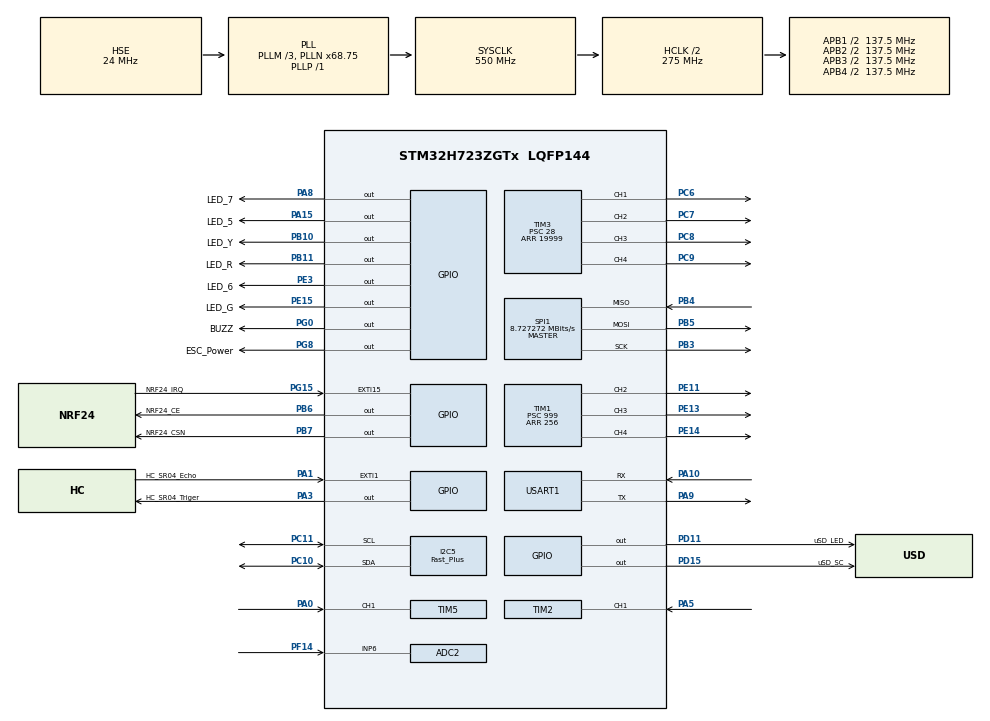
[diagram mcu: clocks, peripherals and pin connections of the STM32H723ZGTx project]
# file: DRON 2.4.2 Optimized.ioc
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ADC2.Channel-0\#ChannelRegularConversion=ADC_CHANNEL_6
ADC2.ClockPrescaler=ADC_CLOCK_ASYNC_DIV8
ADC2.ContinuousConvMode=DISABLE
ADC2.ConversionDataManagement=ADC_CONVERSIONDATA_DMA_CIRCULAR
ADC2.EnableAnalogWatchDog2=false
ADC2.ExternalTrigConv=ADC_EXTERNALTRIG_T8_TRGO
ADC2.NbrOfConversionFlag=1
ADC2.OffsetNumber-0\#ChannelRegularConversion=ADC_OFFSET_NONE
ADC2.OffsetSignedSaturation-0\#ChannelRegularConversion=DISABLE
ADC2.Overrun=ADC_OVR_DATA_OVERWRITTEN
ADC2.Rank-0\#ChannelRegularConversion=1
ADC2.Resolution=ADC_RESOLUTION_12B
ADC2.SamplingTime-0\#ChannelRegularConversion=ADC_SAMPLETIME_810CYCLES_5
CORTEX_M7.CPU_DCache=Disabled
CORTEX_M7.CPU_ICache=Enabled
CORTEX_M7.Enable_Spec=MPU_REGION_ENABLE
CORTEX_M7.default_mode_Activation=1
Dma.ADC2.0.Direction=DMA_PERIPH_TO_MEMORY
Dma.ADC2.0.EventEnable=DISABLE
Dma.ADC2.0.FIFOMode=DMA_FIFOMODE_DISABLE
Dma.ADC2.0.Instance=DMA2_Stream0
Dma.ADC2.0.MemDataAlignment=DMA_MDATAALIGN_HALFWORD
Dma.ADC2.0.MemInc=DMA_MINC_ENABLE
Dma.ADC2.0.Mode=DMA_CIRCULAR
Dma.ADC2.0.PeriphDataAlignment=DMA_PDATAALIGN_HALFWORD
Dma.ADC2.0.PeriphInc=DMA_PINC_DISABLE
Dma.ADC2.0.Polarity=HAL_DMAMUX_REQ_GEN_RISING
Dma.ADC2.0.Priority=DMA_PRIORITY_LOW
Dma.ADC2.0.RequestNumber=1
Dma.ADC2.0.SignalID=NONE
Dma.ADC2.0.SyncEnable=DISABLE
Dma.ADC2.0.SyncPolarity=HAL_DMAMUX_SYNC_NO_EVENT
Dma.ADC2.0.SyncRequestNumber=1
Dma.ADC2.0.SyncSignalID=NONE
Dma.Request0=ADC2
I2C5.Analog_Filter=I2C_ANALOGFILTER_ENABLE
I2C5.I2C_Speed_Mode=I2C_Fast_Plus
I2C5.Timing=0x00000000
Mcu.Family=STM32H7
Mcu.Name=STM32H723ZGTx
Mcu.Package=LQFP144
NVIC.ADC_IRQn=true\:0\:0\:true\:false\:true\:true\:true\:true
NVIC.DMA2_Stream0_IRQn=true\:0\:0\:false\:false\:true\:false\:true\:true
NVIC.EXTI15_10_IRQn=true\:0\:0\:true\:false\:true\:true\:true\:true
NVIC.EXTI1_IRQn=true\:0\:0\:false\:false\:true\:true\:true\:true
NVIC.I2C5_EV_IRQn=true\:1\:0\:true\:false\:true\:true\:true\:true
NVIC.PriorityGroup=NVIC_PRIORITYGROUP_4
NVIC.SPI1_IRQn=true\:0\:0\:false\:false\:true\:true\:true\:true
NVIC.TIM16_IRQn=true\:0\:0\:false\:false\:true\:true\:true\:true
NVIC.TIM17_IRQn=true\:0\:0\:false\:false\:true\:true\:true\:true
NVIC.TIM24_IRQn=true\:0\:0\:false\:false\:true\:true\:true\:true
NVIC.TIM2_IRQn=true\:1\:0\:true\:false\:true\:true\:true\:true
NVIC.TIM8_UP_TIM13_IRQn=true\:0\:0\:false\:false\:true\:true\:true\:true
NVIC.USART1_IRQn=true\:0\:0\:true\:false\:true\:true\:true\:true
PA0.Signal=S_TIM5_CH1
PA1.GPIO_Label=HC_SR04_Echo
PA1.GPIO_ModeDefaultEXTI=GPIO_MODE_IT_RISING_FALLING
PA1.Signal=GPXTI1
PA10.Mode=Asynchronous
PA10.Signal=USART1_RX
PA13(JTMS/SWDIO).Mode=Serial_Wire
PA13(JTMS/SWDIO).Signal=DEBUG_JTMS-SWDIO
PA14(JTCK/SWCLK).Mode=Serial_Wire
PA14(JTCK/SWCLK).Signal=DEBUG_JTCK-SWCLK
PA15(JTDI).GPIO_Label=LED_5
PA15(JTDI).Signal=GPIO_Output
PA3.GPIO_Label=HC_SR04_Triger
PA3.Signal=GPIO_Output
PA5.Signal=S_TIM2_CH1_ETR
PA8.GPIO_Label=LED_7
PA8.Signal=GPIO_Output
PA9.Mode=Asynchronous
PA9.Signal=USART1_TX
PB10.GPIO_Label=LED_Y
PB10.Signal=GPIO_Output
PB11.GPIO_Label=LED_R
PB11.Signal=GPIO_Output
PB13.GPIO_Speed=GPIO_SPEED_FREQ_MEDIUM
PB13.Signal=SPI2_SCK
PB14.GPIO_PuPd=GPIO_PULLUP
PB14.GPIO_Speed=GPIO_SPEED_FREQ_MEDIUM
PB14.Signal=SPI2_MISO
PB15.GPIO_PuPd=GPIO_PULLUP
PB15.GPIO_Speed=GPIO_SPEED_FREQ_MEDIUM
PB15.Signal=SPI2_MOSI
PB3(JTDO/TRACESWO).Mode=Full_Duplex_Master
PB3(JTDO/TRACESWO).Signal=SPI1_SCK
PB4(NJTRST).Mode=Full_Duplex_Master
PB4(NJTRST).Signal=SPI1_MISO
PB5.Mode=Full_Duplex_Master
PB5.Signal=SPI1_MOSI
PB6.GPIO_Label=NRF24_CE
PB6.Signal=GPIO_Output
PB7.GPIO_Label=NRF24_CSN
PB7.Signal=GPIO_Output
PC10.GPIO_Pu=GPIO_PULLUP
PC10.Mode=I2C
PC10.Signal=I2C5_SDA
PC11.GPIO_Pu=GPIO_PULLUP
PC11.Mode=I2C
PC11.Signal=I2C5_SCL
PC6.Signal=S_TIM3_CH1
PC7.Signal=S_TIM3_CH2
PC8.Signal=S_TIM3_CH3
PC9.Signal=S_TIM3_CH4
PD11.GPIO_Label=uSD_LED
PD11.Signal=GPIO_Output
PD15.GPIO_Label=uSD_SC
PD15.GPIO_Speed=GPIO_SPEED_FREQ_MEDIUM
PD15.Signal=GPIO_Output
PE11.Signal=S_TIM1_CH2
PE13.Signal=S_TIM1_CH3
PE14.Signal=S_TIM1_CH4
PE15.GPIO_Label=LED_G
PE15.Signal=GPIO_Output
PE3.GPIO_Label=LED_6
PE3.Signal=GPIO_Output
PF14.Mode=IN6-Single-Ended
PF14.Signal=ADC2_INP6
PG0.GPIO_Label=BUZZ
PG0.Signal=GPIO_Output
PG15.GPIO_Label=NRF24_IRQ
PG15.GPIO_ModeDefaultEXTI=GPIO_MODE_IT_FALLING
PG15.Signal=GPXTI15
PG8.GPIO_Label=ESC_Power
PG8.Signal=GPIO_Output
PH0-OSC_IN.Mode=HSE-External-Oscillator
PH0-OSC_IN.Signal=RCC_OSC_IN
PH1-OSC_OUT.Mode=HSE-External-Oscillator
PH1-OSC_OUT.Signal=RCC_OSC_OUT
ProjectManager.HeapSize=0x200
ProjectManager.StackSize=0x400
ProjectManager.TargetToolchain=STM32CubeIDE
RCC.ADCFreq_Value=69818181.81818181
RCC.APB1Freq_Value=137500000
RCC.APB2Freq_Value=137500000
RCC.APB3Freq_Value=137500000
RCC.APB4Freq_Value=137500000
RCC.CortexFreq_Value=550000000
RCC.D1PPRE=RCC_APB3_DIV2
RCC.D2PPRE1=RCC_APB1_DIV2
RCC.D2PPRE2=RCC_APB2_DIV2
RCC.D3PPRE=RCC_APB4_DIV2
RCC.DIVM1=3
RCC.DIVM2=22
RCC.DIVM3=24
RCC.DIVN1=68
RCC.DIVN2=192
RCC.DIVN3=200
RCC.DIVP1=1
RCC.DIVP2=3
RCC.DIVP3=1
RCC.DIVQ3=10
RCC.HCLKFreq_Value=275000000
RCC.HPRE=RCC_HCLK_DIV2
RCC.HSE_VALUE=24000000
RCC.I2C123CLockSelection=RCC_I2C1235CLKSOURCE_CSI
RCC.PLL2FRACN=0
RCC.PLL3FRACN=0
RCC.PLLFRACN=6144
RCC.PLLSourceVirtual=RCC_PLLSOURCE_HSE
RCC.SPI123CLockSelection=RCC_SPI123CLKSOURCE_PLL2
RCC.SPI6CLockSelection=RCC_SPI6CLKSOURCE_PLL3
RCC.SYSCLKFreq_VALUE=550000000
RCC.SYSCLKSource=RCC_SYSCLKSOURCE_PLLCLK
RCC.SupplySource=PWR_LDO_SUPPLY
RCC.USBFreq_Value=275000000
SH.S_TIM1_CH2.0=TIM1_CH2,PWM Generation2 CH2
SH.S_TIM1_CH3.0=TIM1_CH3,PWM Generation3 CH3
SH.S_TIM1_CH4.0=TIM1_CH4,PWM Generation4 CH4
SH.S_TIM2_CH1_ETR.0=TIM2_CH1,Input_Capture1_from_TI1
SH.S_TIM3_CH1.0=TIM3_CH1,PWM Generation1 CH1
SH.S_TIM3_CH2.0=TIM3_CH2,PWM Generation2 CH2
SH.S_TIM3_CH3.0=TIM3_CH3,PWM Generation3 CH3
SH.S_TIM3_CH4.0=TIM3_CH4,PWM Generation4 CH4
SH.S_TIM5_CH1.0=TIM5_CH1,Input_Capture1_from_TI1
SPI1.BaudRatePrescaler=SPI_BAUDRATEPRESCALER_8
SPI1.CalculateBaudRate=8.727272 MBits/s
SPI1.DataSize=SPI_DATASIZE_8BIT
SPI1.Direction=SPI_DIRECTION_2LINES
SPI1.Mode=SPI_MODE_MASTER
SPI1.VirtualType=VM_MASTER
TIM1.AutoReloadPreload=TIM_AUTORELOAD_PRELOAD_ENABLE
TIM1.Channel-PWM\ Generation2\ CH2=TIM_CHANNEL_2
TIM1.Channel-PWM\ Generation3\ CH3=TIM_CHANNEL_3
TIM1.Channel-PWM\ Generation4\ CH4=TIM_CHANNEL_4
TIM1.Period=256
TIM1.Prescaler=999
TIM13.Period=27499
TIM13.Prescaler=9999
TIM16.Period=1374
TIM16.Prescaler=99
TIM17.Period=274
TIM17.Prescaler=9
TIM2.AutoReloadPreload=TIM_AUTORELOAD_PRELOAD_ENABLE
TIM2.Channel-Input_Capture1_from_TI1=TIM_CHANNEL_1
TIM2.Period=999
TIM2.Prescaler=274
TIM24.Channel-Output\ Compare1\ No\ Output=TIM_CHANNEL_1
TIM24.Period=27499
TIM24.Prescaler=999
TIM3.AutoReloadPreload=TIM_AUTORELOAD_PRELOAD_DISABLE
TIM3.Channel-PWM\ Generation1\ CH1=TIM_CHANNEL_1
TIM3.Channel-PWM\ Generation2\ CH2=TIM_CHANNEL_2
TIM3.Channel-PWM\ Generation3\ CH3=TIM_CHANNEL_3
TIM3.Channel-PWM\ Generation4\ CH4=TIM_CHANNEL_4
TIM3.Period=19999
TIM3.Prescaler=28
TIM5.Channel-Input_Capture1_from_TI1=TIM_CHANNEL_1
TIM8.AutoReloadPreload=TIM_AUTORELOAD_PRELOAD_DISABLE
TIM8.Period=9999
TIM8.Prescaler=5549
TIM8.TIM_MasterOutputTrigger=TIM_TRGO_UPDATE
TIM8.TIM_MasterOutputTrigger2=TIM_TRGO2_UPDATE
USART1.VirtualMode-Asynchronous=VM_ASYNC
VP_MEMORYMAP_VS_MEMORYMAP.Mode=CurAppReg
VP_TIM13_VS_ClockSourceINT.Mode=Enable_Timer
VP_TIM16_VS_ClockSourceINT.Mode=Enable_Timer
VP_TIM17_VS_ClockSourceINT.Mode=Enable_Timer
VP_TIM24_VS_no_output1.Mode=Output Compare1 No Output
VP_TIM8_VS_ClockSourceINT.Mode=Internal
board=custom

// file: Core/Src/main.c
/* USER CODE BEGIN Header */
/**
  ******************************************************************************
  * @file           : main.c
  * @brief          : Main program body
  ******************************************************************************
  * @attention
  *
  * Copyright (c) 2024 STMicroelectronics.
  * All rights reserved.
  *
  * This software is licensed under terms that can be found in the LICENSE file
  * in the root directory of this software component.
  * If no LICENSE file comes with this software, it is provided AS-IS.
  *
  ******************************************************************************
  */
/* USER CODE END Header */
#include "main.h"
#include "adc.h"
#include "dma.h"
#include "i2c.h"
#include "memorymap.h"
#include "spi.h"
#include "tim.h"
#include "usart.h"
#include "gpio.h"

/* USER CODE BEGIN PD */
#define DRAM __attribute__((section (".DRAM")))
#define IRAM __attribute__((section (".IRAM")))
#define RAM1 __attribute__((section (".RAM1")))

#define LED_G_1 HAL_GPIO_WritePin(LED_G_GPIO_Port, LED_G_Pin, GPIO_PIN_SET)
#define LED_G_0 HAL_GPIO_WritePin(LED_G_GPIO_Port, LED_G_Pin, GPIO_PIN_RESET)

#define LED_R_1 HAL_GPIO_WritePin(LED_R_GPIO_Port, LED_R_Pin, GPIO_PIN_SET)
#define LED_R_0 HAL_GPIO_WritePin(LED_R_GPIO_Port, LED_R_Pin, GPIO_PIN_RESET)

#define LED_Y_1 HAL_GPIO_WritePin(LED_Y_GPIO_Port, LED_Y_Pin, GPIO_PIN_SET)
#define LED_Y_0 HAL_GPIO_WritePin(LED_Y_GPIO_Port, LED_Y_Pin, GPIO_PIN_RESET)

#define LED_5_1 HAL_GPIO_WritePin(LED_5_GPIO_Port, LED_5_Pin, GPIO_PIN_SET) // GY-87 LED
#define LED_5_0 HAL_GPIO_WritePin(LED_5_GPIO_Port, LED_5_Pin, GPIO_PIN_RESET)

#define LED_6_1 HAL_GPIO_WritePin(LED_6_GPIO_Port, LED_6_Pin, GPIO_PIN_SET) // NRF24 LED
#define LED_6_0 HAL_GPIO_WritePin(LED_6_GPIO_Port, LED_6_Pin, GPIO_PIN_RESET)

#define LED_7_1 HAL_GPIO_WritePin(LED_7_GPIO_Port, LED_7_Pin, GPIO_PIN_SET) // USART LED
#define LED_7_0 HAL_GPIO_WritePin(LED_7_GPIO_Port, LED_7_Pin, GPIO_PIN_RESET)

#define LED_uSD_1 HAL_GPIO_WritePin(uSD_LED_GPIO_Port, uSD_LED_Pin, GPIO_PIN_SET) // uSD LED
#define LED_uSD_0 HAL_GPIO_WritePin(uSD_LED_GPIO_Port, uSD_LED_Pin, GPIO_PIN_RESET)

#define BUZZ_1 HAL_GPIO_WritePin(BUZZ_GPIO_Port, BUZZ_Pin, GPIO_PIN_SET)
#define BUZZ_0 HAL_GPIO_WritePin(BUZZ_GPIO_Port, BUZZ_Pin, GPIO_PIN_RESET)

#define ESC_POWER_1 HAL_GPIO_WritePin(ESC_Power_GPIO_Port, ESC_Power_Pin, GPIO_PIN_SET)//1 = unucitve
#define ESC_POWER_0 HAL_GPIO_WritePin(ESC_Power_GPIO_Port, ESC_Power_Pin, GPIO_PIN_RESET)//0 = active

#define NRF24_CSN_HIGH		HAL_GPIO_WritePin(NRF24_CSN_GPIO_Port, NRF24_CSN_Pin, GPIO_PIN_SET)
#define NRF24_CSN_LOW		HAL_GPIO_WritePin(NRF24_CSN_GPIO_Port, NRF24_CSN_Pin, GPIO_PIN_RESET)

#define NRF24_CE_HIGH		HAL_GPIO_WritePin(NRF24_CE_GPIO_Port, NRF24_CE_Pin, GPIO_PIN_SET)
#define NRF24_CE_LOW		HAL_GPIO_WritePin(NRF24_CE_GPIO_Port, NRF24_CE_Pin, GPIO_PIN_RESET)

#define DegToRad 0.01745329251994329576923690768489f

/* USER CODE END PD */

/* USER CODE BEGIN PV */
IRAM MPU6050_Struct MPU6050;
IRAM BMP180_Struct BMP180;
IRAM NRF24_Struct NRF24;
IRAM Dron MYDRON;
IRAM HMC5883L_Struct HMC5883L;
IRAM USART_Struct USART;
IRAM Madgwick_Struct Madgwick;
IRAM HC_SR04_Struct HC_SR04;
IRAM Inactivity_Struct Inactivity;

///////// main
IRAM int TIM_inte = 0;
IRAM uint8_t STARTUP = 1;
IRAM uint32_t NRF_TIM_Inte = 0;
RAM1 uint32_t analogmess;
IRAM uint32_t i = 0, loopnum = 0;
IRAM uint8_t NRF24_Messages_SC = 0;
IRAM uint8_t NRF24_inte = 0;
IRAM uint16_t FDP_D_Gain_AR = 0;
IRAM uint16_t FDP_D_Gain = 0;
const float looptime = 0.001; //todo #define
IRAM float wobble_strenght = 1; //todo ?
const uint16_t DRON_SLOWFALING = 2700;
IRAM uint8_t DRON_ON_GRUND;
IRAM uint8_t ESC_Start;
IRAM uint32_t uIOC_MASK; //todo ?
IRAM uint32_t uDZC_MASK; //todo ?
IRAM uint64_t _1_ms_count;

#define FDP_Mag_Z_FQ 2
#define FDP_FQ 2
/* USER CODE END PV */

void SystemClock_Config(void);
void PeriphCommonClock_Config(void);
static void MPU_Config(void);

int main(void)
{

  /* MPU Configuration--------------------------------------------------------*/
  MPU_Config();

  /* Enable the CPU Cache */

  /* Enable I-Cache---------------------------------------------------------*/
  SCB_EnableICache();

  /* MCU Configuration--------------------------------------------------------*/

  /* Reset of all peripherals, Initializes the Flash interface and the Systick. */
  HAL_Init();

  /* Configure the system clock */
  SystemClock_Config();

  /* Configure the peripherals common clocks */
  PeriphCommonClock_Config();

  /* Initialize all configured peripherals */
  MX_GPIO_Init();
  MX_DMA_Init();
  MX_I2C5_Init();
  MX_ADC2_Init();
  MX_USART1_UART_Init();
  MX_TIM1_Init();
  MX_TIM8_Init();
  MX_TIM3_Init();
  MX_TIM2_Init();
  MX_SPI1_Init();
  MX_TIM24_Init();
  MX_TIM5_Init();
  MX_TIM17_Init();
  MX_TIM16_Init();
  MX_TIM13_Init();
  /* USER CODE BEGIN 2 */
  	  ESC_POWER_1;

  	STARTUP = 1;
  	DRON_ON_GRUND = 1;
  	ESC_Start = 0;

	USART.Received = 0;
	USART.command[0] = 0;
	USART.command_ch_num = 0;
	USART.commandready = 0;

	Inactivity.Compare_Value = 24991806;
	Inactivity.Counter = 0;
	Inactivity.Inact_Percent = 0;

    TIM_inte = 0;
  	NRF_TIM_Inte = 0;
  	FDP_D_Gain_AR = 0;
  	FDP_D_Gain = 0;
  	wobble_strenght = 1;
  	i = 0, loopnum = 0;
  	NRF24_inte = 0;
  	_1_ms_count = 0;

  	LED_5_1;
  	LED_6_1;
  	LED_7_1;
  	LED_uSD_1;
  	LED_G_1;
  	LED_Y_1;
  	LED_R_1;
  	HAL_Delay(1000);
  	LED_G_0;
  	LED_Y_0;
  	LED_R_0;
  	LED_5_0;
  	LED_6_0;
  	LED_7_0;
  	LED_uSD_0;

  	Dron_Init();

	Madgwick.beta = 0.1f;
	Madgwick.q0 = 1.0f;
	Madgwick.q1 = 0.0f;
	Madgwick.q2 = 0.0f;
	Madgwick.q3 = 0.0f;
	Madgwick.z_offset = 0;
	Madgwick.x = 0;
	Madgwick.y = 0;
	Madgwick.z = 0;

  	analogmess = 0;

  	HAL_TIM_Base_Start(&htim8);
  	HAL_ADC_Start_DMA(&hadc2, &analogmess, 1);
  	LED_R_1;
  	while(analogmess == 0){

  	}
  	LED_R_0;

  	Get_batteryvalue();

  	HAL_TIM_PWM_Start(&htim1, TIM_CHANNEL_2);//pwm do diodt RGB
  	HAL_TIM_PWM_Start(&htim1, TIM_CHANNEL_3);
  	HAL_TIM_PWM_Start(&htim1, TIM_CHANNEL_4);

  	RGB_LED_For_BAT(MYDRON.batterysize);
  	if(MYDRON.Status.Battery == DRON_BATTERY_RUN_OUT){
  		LED_R_1;
  		while(1){

  		}
  	}
  	if(MYDRON.Status.Battery == DRON_BATTERY_CRIT_VAL){
  		LED_R_1;

  		while(1){
  		}
  	}

	/////////////////////////////// MPU6050
		LED_5_1;
		if(MPU6050_INIT(&hi2c5) == 0){
			LED_R_1;
			NVIC_SystemReset();
			while(1){
			}
		}
		LED_Y_1;
		MPU6050_CALIBRATION();
		LED_Y_0;

	/////////////////////////////// BMP180
		if(BMP180_init(&hi2c5, &htim16) == 0){
			LED_R_1;
			NVIC_SystemReset();
			while(1){
			}
		}
		LED_Y_1;
		BMP180_CALIBRATION(&BMP180.startpres);
		LED_Y_0;
	/////////////////////////////// HMC5883L
		if(HMC5883L_Init(&hi2c5) == 0){
			LED_R_1;
			NVIC_SystemReset();
			while(1){
			}
		}
		LED_Y_1;
		HMC5883L.Off_Set_Values.Z = HMC5883L_Calibration();
		LED_Y_0;

		LED_5_0;

		HC_SR04_Init(&HC_SR04, &htim17, &htim5);
	/////////////////////////////// nRF24
		nRF24_Start_Up();
	///////////////////////////////////////////////////////////////////////
		HAL_TIM_Base_Start_IT(&htim2); // przerwanie co 1 ms

		ESC_INT(&htim3);
//	  	while(_1_ms_count < 3000){//3sec for esc to start up
//
//	  	}

		LED_7_1;
		HAL_UART_Receive_IT(&huart1, &USART.Received, 1);
		LED_7_0;

		HAL_TIM_Base_Start_IT(&htim24);//przerwanie co 100ms

		Get_batteryvalue();
	  	RGB_LED_For_BAT(MYDRON.batterysize);

	  	if(MYDRON.Status.Battery == DRON_BATTERY_RUN_OUT)
	  	{
	  		LED_R_1;
	  		while(1){

	  		}
	  	}

	  	if(MYDRON.Status.Battery == DRON_BATTERY_CRIT_VAL){
	  		LED_R_1;
	  		while(1){
	  		}
	  	}

	  	while(_1_ms_count < 54000){//1min waiting for Madgwick "stratup"
	  		BUZZ_1;
	  		if(_1_ms_count%2 == 0){
	  			BUZZ_0;
	  		}
	  	}
	  	BUZZ_1;
	  	while(_1_ms_count != 60000){

	  	}
	  	HC_SR04_Init(&HC_SR04, &htim17, &htim5);
	  	Madgwick.z_offset = Madgwick.z;
	  	while(_1_ms_count != 64000){

	  	}
	  	BUZZ_0;
	  	ESC_Start = 1;
	  	HAL_TIM_Base_Start_IT(&htim13);// inactivity clock, irq every 1s
  /* USER CODE END 2 */

  /* Infinite loop */
  /* USER CODE BEGIN WHILE */
  while (1) //todo add camera
  {
	  Inactivity.Counter++;

	  if(MYDRON.Status.Battery == DRON_BATTERY_RUN_OUT){
		  LED_R_1;
		  MYDRON.Thrust.Thrust_Limit = MYDRON.Thrust.Now;
	  }
	  if(MYDRON.Status.Battery == DRON_BATTERY_OK && MYDRON.Thrust.Thrust_Limit != 10000){
		  MYDRON.Thrust.Thrust_Limit = 10000;
	  }
	  if(MYDRON.Status.Battery == DRON_BATTERY_CRIT_VAL){
		  ESC_POWER_1;
		  LED_R_1;
		  while(MYDRON.Status.Battery == DRON_BATTERY_CRIT_VAL){
			  HAL_Delay(10);
			  Get_batteryvalue();
		  }
	  }

	  if(USART.commandready == 1){
		  LED_7_1;
		  interpretcommand();
		  executecommand(USART.command, USART.UASRT_PID_VAL);
		  LED_7_0;
	  }

	  nRF24_While_Process();
	  if(TIM_inte == 1){
		  LED_R_0;
		  TIM_inte = 0;
	  }
    /* USER CODE END WHILE */

  }
}

void SystemClock_Config(void)
{
  RCC_OscInitTypeDef RCC_OscInitStruct = {0};
  RCC_ClkInitTypeDef RCC_ClkInitStruct = {0};

  /** Supply configuration update enable
  */
  HAL_PWREx_ConfigSupply(PWR_LDO_SUPPLY);

  /** Configure the main internal regulator output voltage
  */
  __HAL_PWR_VOLTAGESCALING_CONFIG(PWR_REGULATOR_VOLTAGE_SCALE0);

  while(!__HAL_PWR_GET_FLAG(PWR_FLAG_VOSRDY)) {}

  /** Initializes the RCC Oscillators according to the specified parameters
  * in the RCC_OscInitTypeDef structure.
  */
  RCC_OscInitStruct.OscillatorType = RCC_OSCILLATORTYPE_CSI|RCC_OSCILLATORTYPE_HSE;
  RCC_OscInitStruct.HSEState = RCC_HSE_ON;
  RCC_OscInitStruct.CSIState = RCC_CSI_ON;
  RCC_OscInitStruct.CSICalibrationValue = 16;
  RCC_OscInitStruct.PLL.PLLState = RCC_PLL_ON;
  RCC_OscInitStruct.PLL.PLLSource = RCC_PLLSOURCE_HSE;
  RCC_OscInitStruct.PLL.PLLM = 3;
  RCC_OscInitStruct.PLL.PLLN = 68;
  RCC_OscInitStruct.PLL.PLLP = 1;
  RCC_OscInitStruct.PLL.PLLQ = 2;
  RCC_OscInitStruct.PLL.PLLR = 2;
  RCC_OscInitStruct.PLL.PLLRGE = RCC_PLL1VCIRANGE_3;
  RCC_OscInitStruct.PLL.PLLVCOSEL = RCC_PLL1VCOWIDE;
  RCC_OscInitStruct.PLL.PLLFRACN = 6144;
  if (HAL_RCC_OscConfig(&RCC_OscInitStruct) != HAL_OK)
  {
    Error_Handler();
  }

  /** Initializes the CPU, AHB and APB buses clocks
  */
  RCC_ClkInitStruct.ClockType = RCC_CLOCKTYPE_HCLK|RCC_CLOCKTYPE_SYSCLK
                              |RCC_CLOCKTYPE_PCLK1|RCC_CLOCKTYPE_PCLK2
                              |RCC_CLOCKTYPE_D3PCLK1|RCC_CLOCKTYPE_D1PCLK1;
  RCC_ClkInitStruct.SYSCLKSource = RCC_SYSCLKSOURCE_PLLCLK;
  RCC_ClkInitStruct.SYSCLKDivider = RCC_SYSCLK_DIV1;
  RCC_ClkInitStruct.AHBCLKDivider = RCC_HCLK_DIV2;
  RCC_ClkInitStruct.APB3CLKDivider = RCC_APB3_DIV2;
  RCC_ClkInitStruct.APB1CLKDivider = RCC_APB1_DIV2;
  RCC_ClkInitStruct.APB2CLKDivider = RCC_APB2_DIV2;
  RCC_ClkInitStruct.APB4CLKDivider = RCC_APB4_DIV2;

  if (HAL_RCC_ClockConfig(&RCC_ClkInitStruct, FLASH_LATENCY_3) != HAL_OK)
  {
    Error_Handler();
  }
}

void PeriphCommonClock_Config(void)
{
  RCC_PeriphCLKInitTypeDef PeriphClkInitStruct = {0};

  /** Initializes the peripherals clock
  */
  PeriphClkInitStruct.PeriphClockSelection = RCC_PERIPHCLK_ADC|RCC_PERIPHCLK_SPI1;
  PeriphClkInitStruct.PLL2.PLL2M = 22;
  PeriphClkInitStruct.PLL2.PLL2N = 192;
  PeriphClkInitStruct.PLL2.PLL2P = 3;
  PeriphClkInitStruct.PLL2.PLL2Q = 2;
  PeriphClkInitStruct.PLL2.PLL2R = 2;
  PeriphClkInitStruct.PLL2.PLL2RGE = RCC_PLL2VCIRANGE_0;
  PeriphClkInitStruct.PLL2.PLL2VCOSEL = RCC_PLL2VCOMEDIUM;
  PeriphClkInitStruct.PLL2.PLL2FRACN = 0;
  PeriphClkInitStruct.Spi123ClockSelection = RCC_SPI123CLKSOURCE_PLL2;
  PeriphClkInitStruct.AdcClockSelection = RCC_ADCCLKSOURCE_PLL2;
  if (HAL_RCCEx_PeriphCLKConfig(&PeriphClkInitStruct) != HAL_OK)
  {
    Error_Handler();
  }
}

/* USER CODE BEGIN 4 */
void FPU_IRQ_CallBack(){
	for(int i = 0; i < 2; i++){
		LED_R_1;
	}
}

void HAL_TIM_PeriodElapsedCallback(TIM_HandleTypeDef *htim){
	if(htim == &htim13){
		Inactivity.Inact_Percent = ((float)Inactivity.Counter/Inactivity.Compare_Value)*100;
		Inactivity.Counter = 0;
	}
	if(htim == &htim24){//100ms
		//BMP180_100_ms_Process(); //same, but not working
		BMP180_start_measurment_temp_IT();
		BMP180.Step = 1;//Step 1
	}
	if(htim == &htim16){//0.5 ms
		BMP180_05_ms_Process();
	}
	if(htim == &htim17){
		HC_SR04_End_Messurment(&HC_SR04);
	}
	if(htim == &htim2){// 1 ms
		_1_ms_count++;
		TIM_inte = 1;
		NRF_TIM_Inte++;

		nRF24_1ms_Process();

		if(i == 0){// na calosc 100ms
			RGB_LED_For_BAT(MYDRON.batterysize);
			HC_SR04_Start_Messurment(&HC_SR04);
		}
		if(i == 36){
			LED_5_1;
			HMC5883L_Get_Z_Start_IT();
			LED_5_0;
		}

		if(i == 40){//5
			Get_batteryvalue();
			convert_value_to_array(MYDRON.barometrick_height, NRF24.TxData, 0, 3);
			convert_value_to_array(MYDRON.batterysize, NRF24.TxData, 3, 6);

			for(int i = 0; i < 10; i++){
				NRF24.TxData[22+i] = NRF24.Txcode[22+i];
			}
		}

		LED_5_1;
		MPU6050_GET_ACCANDGYR_CALANDSCL_IT();
		LED_5_0;

		i = (i == 100) ? 0 : i+1;

		if(NRF_TIM_Inte >= 1000){
			LED_R_1;
			MYDRON.Status.Connection = DRON_DISCONNECTED;
		}
		if(MYDRON.Status.Connection == DRON_DISCONNECTED){
			MYDRON.Rool.Wanted = 0;
			MYDRON.Pitch.Wanted = 0;
			MYDRON.Yaw.Wanted = Madgwick.z_offset;
			MYDRON.Thrust.Wanted = DRON_SLOWFALING;
		}
	}
}

void HAL_GPIO_EXTI_Callback(uint16_t GPIO_Pin){
	if(GPIO_Pin == GPIO_PIN_15){
		nRF24_GPIO_EXTI_Process();
	}
	if(GPIO_Pin == GPIO_PIN_1){
		HC_SR04_Get_Echo(&HC_SR04);
		MYDRON.to_ground_height = HC_SR04.Distance;
		IS_DRON_ON_GROUND(&MYDRON, HC_SR04);
	}
}

void HAL_UART_RxCpltCallback(UART_HandleTypeDef *huart)//pobieranie znakw z uart
{
	USART.words[USART.command_ch_num] = USART.Received;

	if(USART.words[USART.command_ch_num] == '\r')
	{
		USART.words[USART.command_ch_num] = 0;
		USART.commandready = 1;
	}
	HAL_UART_Receive_IT(&huart1, &USART.Received, 1);
	USART.command_ch_num++;

	if(USART.commandready == 1)
	{
		USART.command_ch_num = 0;
	}
}

void HAL_I2C_MemTxCpltCallback(I2C_HandleTypeDef *hi2c){
	BMP180_I2C_Tx_IT_Process();
}

void HAL_I2C_MemRxCpltCallback(I2C_HandleTypeDef *hi2c){
	if(MPU6050.MPU6050_IRQ == 1){
			MPU6050.MPU6050_IRQ = 0;//todo takeoff mode

			LED_G_1;

			MPU6050_GET_CALANDSCL_IT();
			MPU6050_GET_ACCEL_TO_ANGLE();
			MadgwickAHRSupdate(MPU6050.Gyr.gx*DegToRad, MPU6050.Gyr.gy*DegToRad, MPU6050.Gyr.gz*DegToRad, MPU6050.Acc.ax, MPU6050.Acc.ay, MPU6050.Acc.az, HMC5883L.Directions.X, HMC5883L.Directions.Y, HMC5883L.Directions.Z);
			Madgwick_Get_Angles();
			Angle_Filter(&MYDRON, Madgwick);
			MPU6050_VerAcc_Cal(&MPU6050, Madgwick);

			MYDRON.Rool.Wanted = (float)MYDRON.Rool.Wanted_rx/10;
			MYDRON.Pitch.Wanted = (float)MYDRON.Pitch.Wanted_rx/10;
			MYDRON.Yaw.Wanted = Madgwick.z_offset;//(float)MYDRON.Yaw.Wanted_rx/10;
				  			/*
				  				 * FDP
				  				 */
			MYDRON.Rool.Wanted = (MYDRON.Rool.Wanted * (FDP_FQ * looptime) / (1 + (FDP_FQ * looptime))) + (MYDRON.Rool.Last_Wanted_rx * (1 / (1 + (FDP_FQ * looptime))));
			MYDRON.Pitch.Wanted = (MYDRON.Pitch.Wanted * (FDP_FQ * looptime) / (1 + (FDP_FQ * looptime))) + (MYDRON.Pitch.Last_Wanted_rx * (1 / (1 + (FDP_FQ * looptime))));
			//MYDRON.Yaw.Wanted = (MYDRON.Yaw.Wanted * (FDP_FQ * looptime) / (1 + (FDP_FQ * looptime))) + (MYDRON.Yaw.Last_Wanted_rx * (1 / (1 + (FDP_FQ * looptime))));

			MYDRON.Rool.Last_Wanted_rx = MYDRON.Rool.Wanted;
			MYDRON.Pitch.Last_Wanted_rx = MYDRON.Pitch.Wanted;
			//MYDRON.Yaw.Last_Wanted_rx= MYDRON.Yaw.Wanted;

			MYDRON.Pitch.Angle_Error = MYDRON.Pitch.Wanted - MYDRON.Pitch.Now;
			MYDRON.Rool.Angle_Error = MYDRON.Rool.Wanted - MYDRON.Rool.Now;
		  	MYDRON.Yaw.Angle_Error = MYDRON.Yaw.Wanted - MYDRON.Yaw.Now;

		  	if(MYDRON.Status.On_Grund == 0 || MYDRON.Thrust.Wanted > 0){
				MYDRON.Pitch.Angle_Error_Sum = (MYDRON.PID_Pitch.Status != 0) ? MYDRON.Pitch.Angle_Error_Sum : MYDRON.Pitch.Angle_Error_Sum + (MYDRON.Pitch.Angle_Error);//pitch_error -> pitch_error
				MYDRON.Rool.Angle_Error_Sum = (MYDRON.PID_Rool.Status != 0) ? MYDRON.Rool.Angle_Error_Sum : MYDRON.Rool.Angle_Error_Sum + (MYDRON.Rool.Angle_Error);//rool_error
				MYDRON.Yaw.Angle_Error_Sum = (MYDRON.PID_Yaw.Status != 0) ? MYDRON.Yaw.Angle_Error_Sum : MYDRON.Yaw.Angle_Error_Sum + (MYDRON.Yaw.Angle_Error);//yaw_error

				MYDRON.Pitch.Angular_Rate_Error_Sum = (MYDRON.PID_Pitch.Status != 0) ? MYDRON.Pitch.Angular_Rate_Error_Sum : MYDRON.Pitch.Angular_Rate_Error_Sum + (MYDRON.Pitch.Angular_Rate_Error);//pitch_ar_error
				MYDRON.Rool.Angular_Rate_Error_Sum = (MYDRON.PID_Rool.Status != 0) ? MYDRON.Rool.Angular_Rate_Error_Sum : MYDRON.Rool.Angular_Rate_Error_Sum + (MYDRON.Rool.Angular_Rate_Error);
				MYDRON.Yaw.Angular_Rate_Error_Sum = (MYDRON.PID_Yaw.Status != 0) ? MYDRON.Yaw.Angular_Rate_Error_Sum : MYDRON.Yaw.Angular_Rate_Error_Sum + (MYDRON.Yaw.Angular_Rate_Error);
		  	}	else{
		  		MYDRON.Pitch.Angle_Error_Sum = 0;
		  		MYDRON.Rool.Angle_Error_Sum = 0;
		  		MYDRON.Yaw.Angle_Error_Sum = 0;

		  		MYDRON.Pitch.Angular_Rate_Error_Sum = 0;
		  		MYDRON.Rool.Angular_Rate_Error_Sum = 0;
		  		MYDRON.Yaw.Angular_Rate_Error_Sum = 0;
		  	}

			PID_call(&MYDRON);

			MYDRON.Pitch.Old_Angle_Error = MYDRON.Pitch.Angle_Error;
			MYDRON.Rool.Old_Angle_Error = MYDRON.Rool.Angle_Error;
			MYDRON.Yaw.Old_Angle_Error = MYDRON.Yaw.Angle_Error;

			MYDRON.Pitch.Old_Angular_Rate_Error = MYDRON.Pitch.Angular_Rate_Error;
			MYDRON.Rool.Old_Angular_Rate_Error = MYDRON.Rool.Angular_Rate_Error;
			MYDRON.Yaw.Old_Angular_Rate_Error = MYDRON.Yaw.Angular_Rate_Error;

			MYDRON.Pitch.Value  	= (MYDRON.PID_Pitch.Angular_Rate_Value > 5000) ? PITCH_MAX_VAL(): (MYDRON.PID_Pitch.Angular_Rate_Value < -5000) ? PITCH_MIN_VAL(): PITCH_GOOD_VAL();
			MYDRON.Rool.Value 	    = (MYDRON.PID_Rool.Angular_Rate_Value > 5000) ? ROOL_MAX_VAL(): (MYDRON.PID_Rool.Angular_Rate_Value < -5000) ? ROOL_MIN_VAL(): ROOL_GOOD_VAL();
			MYDRON.Yaw.Value  		= (MYDRON.PID_Yaw.Angular_Rate_Value > 5000) ? YAW_MAX_VAL(): (MYDRON.PID_Yaw.Angular_Rate_Value < -5000) ? YAW_MIN_VAL(): YAW_GOOD_VAL();

			Thrust_filter(1);
			if(MYDRON.Thrust.Now > MYDRON.Thrust.Thrust_Limit){
				MYDRON.Thrust.Now = MYDRON.Thrust.Thrust_Limit;
			}

			MYDRON.Thrust.Speed_1 = (((uint32_t)((MYDRON.Thrust.Now*0.7) + MYDRON.Rool.Value - MYDRON.Pitch.Value + MYDRON.Yaw.Value + min_speed + 500)) < max_speed) ? ((MYDRON.Thrust.Now*0.7) + MYDRON.Rool.Value - MYDRON.Pitch.Value + MYDRON.Yaw.Value + min_speed + 500) : max_speed;//trust 7000 max
			MYDRON.Thrust.Speed_2 = (((uint32_t)((MYDRON.Thrust.Now*0.7) - MYDRON.Rool.Value - MYDRON.Pitch.Value - MYDRON.Yaw.Value + min_speed + 500)) < max_speed) ? ((MYDRON.Thrust.Now*0.7) - MYDRON.Rool.Value - MYDRON.Pitch.Value - MYDRON.Yaw.Value + min_speed + 500) : max_speed;//
			MYDRON.Thrust.Speed_3 = (((uint32_t)((MYDRON.Thrust.Now*0.7) + MYDRON.Rool.Value + MYDRON.Pitch.Value - MYDRON.Yaw.Value + min_speed + 500)) < max_speed) ? ((MYDRON.Thrust.Now*0.7) + MYDRON.Rool.Value + MYDRON.Pitch.Value - MYDRON.Yaw.Value + min_speed + 500) : max_speed;//
			MYDRON.Thrust.Speed_4 = (((uint32_t)((MYDRON.Thrust.Now*0.7) - MYDRON.Rool.Value + MYDRON.Pitch.Value + MYDRON.Yaw.Value + min_speed + 500)) < max_speed) ? ((MYDRON.Thrust.Now*0.7) - MYDRON.Rool.Value + MYDRON.Pitch.Value + MYDRON.Yaw.Value + min_speed + 500) : max_speed;//

			if(ESC_Start == 1){
				if( MYDRON.Thrust.Speed_1 != MYDRON.Thrust.Old_Speed_1){
					ESC_1_SPEED( MYDRON.Thrust.Speed_1);
				}
				if( MYDRON.Thrust.Speed_2 != MYDRON.Thrust.Old_Speed_2){
					ESC_2_SPEED( MYDRON.Thrust.Speed_2);
				}
				if( MYDRON.Thrust.Speed_3 != MYDRON.Thrust.Old_Speed_3){
					ESC_3_SPEED( MYDRON.Thrust.Speed_3);
				}
				if( MYDRON.Thrust.Speed_4 != MYDRON.Thrust.Old_Speed_4){
					ESC_4_SPEED( MYDRON.Thrust.Speed_4);
				}
			}

			MYDRON.Thrust.Old_Speed_1 = MYDRON.Thrust.Speed_1;
			MYDRON.Thrust.Old_Speed_2 = MYDRON.Thrust.Speed_2;
			MYDRON.Thrust.Old_Speed_3 = MYDRON.Thrust.Speed_3;
			MYDRON.Thrust.Old_Speed_4 = MYDRON.Thrust.Speed_4;

			LED_G_0;
	}
	if(HMC5883L.HMC583L_IRQ == 1){
		HMC5883L.HMC583L_IRQ = 0;
		HMC5883L_Get_Z_End_IT();
		HMC5883L.Directions.Z = (HMC5883L.Directions.Z * (FDP_Mag_Z_FQ * 0.1) / (1 + (FDP_Mag_Z_FQ * 0.1))) + (HMC5883L.Directions.Old_Z * (1 / (1 + (FDP_Mag_Z_FQ * 0.1)))); // 0.1 to looptime, co 100ms odczyt
		HMC5883L.Directions.Old_Z = HMC5883L.Directions.Z;
	}
	BMP180_I2C_Rx_IT_Process();
}

void HAL_SPI_TxCpltCallback(SPI_HandleTypeDef * hspi){
	nRF24_SPI_Tx_IT_Process();
}

void HAL_SPI_RxCpltCallback(SPI_HandleTypeDef * hspi){
	nRF24_SPI_Rx_IT_Process();
}
/* USER CODE END 4 */

 /* MPU Configuration */

void MPU_Config(void)
{
  MPU_Region_InitTypeDef MPU_InitStruct = {0};

  /* Disables the MPU */
  HAL_MPU_Disable();

  /** Initializes and configures the Region and the memory to be protected
  */
  MPU_InitStruct.Enable = MPU_REGION_ENABLE;
  MPU_InitStruct.Number = MPU_REGION_NUMBER0;
  MPU_InitStruct.BaseAddress = 0x0;
  MPU_InitStruct.Size = MPU_REGION_SIZE_4GB;
  MPU_InitStruct.SubRegionDisable = 0x87;
  MPU_InitStruct.TypeExtField = MPU_TEX_LEVEL0;
  MPU_InitStruct.AccessPermission = MPU_REGION_NO_ACCESS;
  MPU_InitStruct.DisableExec = MPU_INSTRUCTION_ACCESS_DISABLE;
  MPU_InitStruct.IsShareable = MPU_ACCESS_SHAREABLE;
  MPU_InitStruct.IsCacheable = MPU_ACCESS_NOT_CACHEABLE;
  MPU_InitStruct.IsBufferable = MPU_ACCESS_NOT_BUFFERABLE;

  HAL_MPU_ConfigRegion(&MPU_InitStruct);
  /* Enables the MPU */
  HAL_MPU_Enable(MPU_PRIVILEGED_DEFAULT);

}

void Error_Handler(void)
{
  __disable_irq();
  while (1)
  {
  }
}
